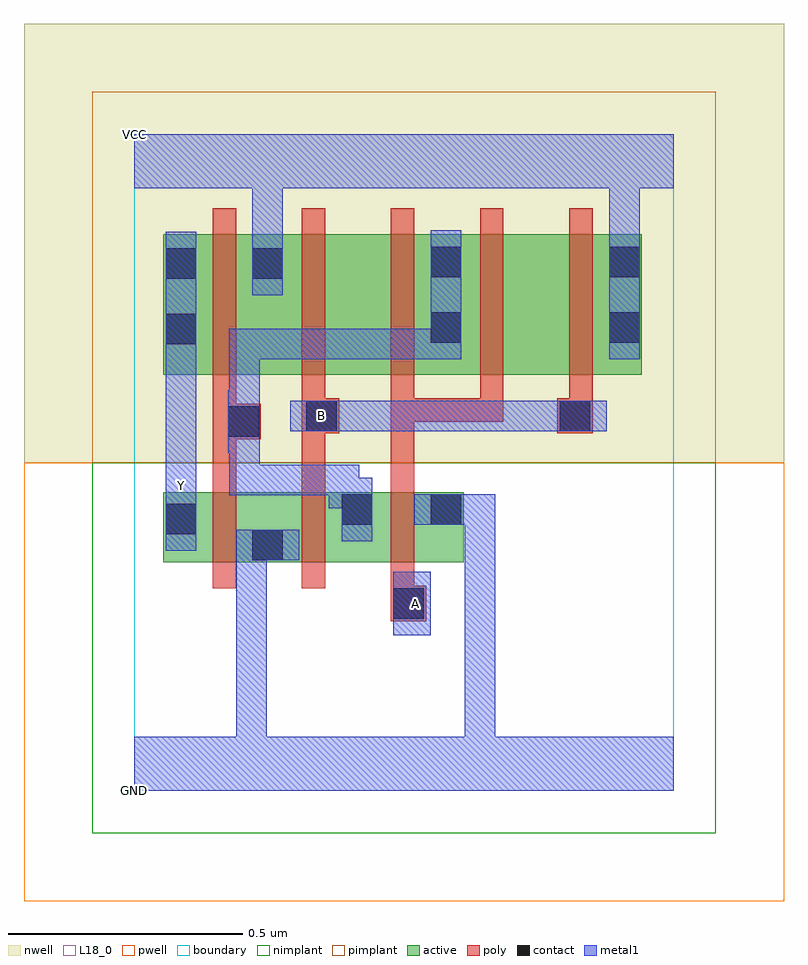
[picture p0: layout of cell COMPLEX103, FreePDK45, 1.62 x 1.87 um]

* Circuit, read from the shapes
.subckt COMPLEX103 A B GND VCC Y
M1 GND n1 Y VSUBS nfet w=0.15u l=0.05u
M2 n1 B GND VSUBS nfet w=0.15u l=0.05u
M3 GND A n1 VSUBS nfet w=0.15u l=0.05u
M4 VCC n1 Y n2 pfet w=0.3u l=0.05u
M5 n3 B VCC n2 pfet w=0.3u l=0.05u
M6 n1 A n3 n2 pfet w=0.3u l=0.05u
M7 n4 A n1 n2 pfet w=0.3u l=0.05u
M8 VCC B n4 n2 pfet w=0.3u l=0.05u
.ends

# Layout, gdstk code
import gdstk
lib = gdstk.Library(unit=1e-6, precision=1e-09)
def R(c, l, rs):  # rectangles x0, y0, x1, y1
    for r in rs: c.add(gdstk.rectangle(r[:2], r[2:], *l))
def A(c, l, x, y, w, h, nx, ny, dx, dy):  # array of equal rectangles
    R(c, l, [(x+i*dx, y+j*dy, x+i*dx+w, y+j*dy+h) for i in range(nx) for j in range(ny)])
active = (1, 0)
pwell = (2, 0)
nwell = (3, 0)
nimplant = (4, 0)
pimplant = (5, 0)
poly = (9, 0)
contact = (10, 0)
metal1 = (11, 0)
L18_0 = (18, 0)
boundary = (235, 0)

complex103 = lib.new_cell('COMPLEX103')
R(complex103, active, [(0.062,0.487,0.137,0.637), (0.062,0.487,0.322,0.637), (0.247,0.487,0.512,0.637), (0.247,0.487,0.322,0.562), (0.437,0.487,0.512,0.637), (0.437,0.487,0.702,0.637), (0.627,0.487,0.702,0.637), (0.062,0.887,0.322,1.187), (0.062,0.887,0.137,1.162), (0.247,0.887,0.477,1.187), (0.477,0.887,0.702,1.187), (0.627,0.887,0.702,1.165), (0.627,0.887,0.857,1.187), (0.857,0.887,1.082,1.187), (1.007,0.887,1.082,1.165), (0.247,1.007,0.322,1.162)])
R(complex103, pwell, [(-0.235,-0.235,1.385,0.7)])
R(complex103, nwell, [(-0.235,0.7,1.385,1.635)])
R(complex103, nimplant, [(-0.09,-0.09,1.24,0.7)])
R(complex103, pimplant, [(-0.09,0.7,1.24,1.49)])
A(complex103, poly, 0.167, 0.432, 0.05, 0.26, 3, 1, 0.19, 0)
A(complex103, poly, 0.357, 0.787, 0.05, 0.095, 4, 1, 0.19, 0)
A(complex103, poly, 0.167, 0.832, 0.05, 0.41, 5, 1, 0.19, 0)
R(complex103, poly, [(0.547,0.362,0.622,0.437), (0.547,0.387,0.597,0.482), (0.167,0.642,0.217,0.8), (0.357,0.642,0.407,0.812), (0.547,0.642,0.597,0.837), (0.167,0.75,0.27,0.825), (0.357,0.762,0.437,0.837), (0.902,0.762,0.977,0.837), (0.167,0.775,0.217,0.882), (0.547,0.787,0.597,0.837), (0.547,0.787,0.787,0.837), (0.737,0.787,0.787,0.837), (0.737,0.787,0.787,0.837), (0.737,0.787,0.787,0.837)])
R(complex103, contact, [(0.552,0.367,0.617,0.432), (0.252,0.492,0.317,0.557), (0.067,0.547,0.132,0.612), (0.442,0.567,0.507,0.632), (0.632,0.567,0.697,0.632), (0.2,0.755,0.265,0.82), (0.367,0.767,0.432,0.832), (0.907,0.767,0.972,0.832), (0.067,0.952,0.132,1.017), (0.632,0.955,0.697,1.02), (1.012,0.955,1.077,1.02), (0.067,1.092,0.132,1.157), (0.252,1.092,0.317,1.157), (0.632,1.095,0.697,1.16), (1.012,1.095,1.077,1.16)])
R(complex103, metal1, [(0,0,1.15,0.115), (0.217,0.05,0.282,0.115), (0.217,0.05,0.282,0.115), (0.217,0.05,0.282,0.115), (0.217,0.05,0.282,0.115), (0.217,0.05,0.282,0.557), (0.705,0.05,0.77,0.115), (0.705,0.05,0.77,0.115), (0.705,0.05,0.77,0.115), (0.705,0.05,0.77,0.115), (0.705,0.05,0.77,0.632), (0.552,0.332,0.632,0.467), (0.217,0.492,0.282,0.557), (0.217,0.492,0.282,0.557), (0.217,0.492,0.352,0.557), (0.067,0.512,0.132,0.647), (0.442,0.532,0.507,0.667), (0.597,0.567,0.77,0.632), (0.705,0.567,0.77,0.632), (0.705,0.567,0.77,0.632), (0.067,0.582,0.132,0.647), (0.067,0.582,0.132,0.717), (0.415,0.602,0.507,0.667), (0.415,0.602,0.48,0.695), (0.202,0.63,0.267,0.695), (0.202,0.63,0.48,0.695), (0.202,0.63,0.267,0.785), (0.067,0.652,0.132,0.982), (0.2,0.72,0.265,0.785), (0.2,0.72,0.265,0.855), (0.2,0.72,0.267,0.785), (0.202,0.72,0.267,0.985), (0.332,0.767,0.467,0.832), (0.402,0.767,0.467,0.832), (0.402,0.767,0.467,0.832), (0.402,0.767,0.617,0.832), (0.552,0.767,0.617,0.832), (0.552,0.767,0.797,0.832), (0.732,0.767,0.797,0.832), (0.732,0.767,0.797,0.832), (0.732,0.767,0.797,0.832), (0.732,0.767,0.937,0.832), (0.872,0.767,0.937,0.832), (0.872,0.767,0.937,0.832), (0.872,0.767,1.007,0.832), (0.067,0.917,0.132,1.192), (0.202,0.92,0.267,0.985), (0.202,0.92,0.48,0.985), (0.415,0.92,0.48,0.985), (0.415,0.92,0.48,0.985), (0.415,0.92,0.48,0.985), (0.415,0.92,0.617,0.985), (0.552,0.92,0.617,0.985), (0.552,0.92,0.697,0.985), (0.632,0.92,0.697,1.195), (1.012,0.92,1.077,1.195), (0.252,1.057,0.317,1.192), (0.252,1.127,0.317,1.35), (1.012,1.13,1.077,1.195), (1.012,1.13,1.077,1.195), (1.012,1.13,1.077,1.35), (0,1.285,1.15,1.4), (0.252,1.285,0.317,1.35), (0.252,1.285,0.317,1.35)])
R(complex103, L18_0, [(0,0,1.15,0.115), (0.217,0.05,0.282,0.115), (0.217,0.05,0.282,0.115), (0.217,0.05,0.282,0.115), (0.217,0.05,0.282,0.115), (0.217,0.05,0.282,0.557), (0.705,0.05,0.77,0.115), (0.705,0.05,0.77,0.115), (0.705,0.05,0.77,0.115), (0.705,0.05,0.77,0.115), (0.705,0.05,0.77,0.632), (0.552,0.332,0.632,0.467), (0.567,0.367,0.632,0.432), (0.217,0.492,0.282,0.557), (0.217,0.492,0.282,0.557), (0.217,0.492,0.352,0.557), (0.067,0.512,0.132,0.647), (0.597,0.567,0.77,0.632), (0.705,0.567,0.77,0.632), (0.705,0.567,0.77,0.632), (0.067,0.582,0.132,0.717), (0.067,0.582,0.132,0.647), (0.067,0.617,0.132,0.682), (0.067,0.652,0.132,0.982), (0.332,0.767,0.467,0.832), (0.367,0.767,0.432,0.832), (0.402,0.767,0.467,0.832), (0.402,0.767,0.467,0.832), (0.402,0.767,0.617,0.832), (0.552,0.767,0.617,0.832), (0.552,0.767,0.797,0.832), (0.732,0.767,0.797,0.832), (0.732,0.767,0.797,0.832), (0.732,0.767,0.797,0.832), (0.732,0.767,0.937,0.832), (0.872,0.767,0.937,0.832), (0.872,0.767,0.937,0.832), (0.872,0.767,1.007,0.832), (0.067,0.917,0.132,1.192), (1.012,0.92,1.077,1.195), (0.252,1.057,0.317,1.192), (0.252,1.127,0.317,1.35), (1.012,1.13,1.077,1.195), (1.012,1.13,1.077,1.195), (1.012,1.13,1.077,1.35), (0,1.285,1.15,1.4), (0.252,1.285,0.317,1.35), (0.252,1.285,0.317,1.35)])
R(complex103, boundary, [(0,0,1.15,1.4)])
complex103.add(gdstk.Label('A', (0.6,0.4), layer=11, texttype=0))
complex103.add(gdstk.Label('B', (0.4,0.8), layer=11, texttype=0))
complex103.add(gdstk.Label('Y', (0.1,0.65), layer=11, texttype=0))
complex103.add(gdstk.Label('VCC', (0,1.4), layer=11, texttype=0))
complex103.add(gdstk.Label('GND', (0,0), layer=11, texttype=0))

lib.write_gds('COMPLEX103.gds')
